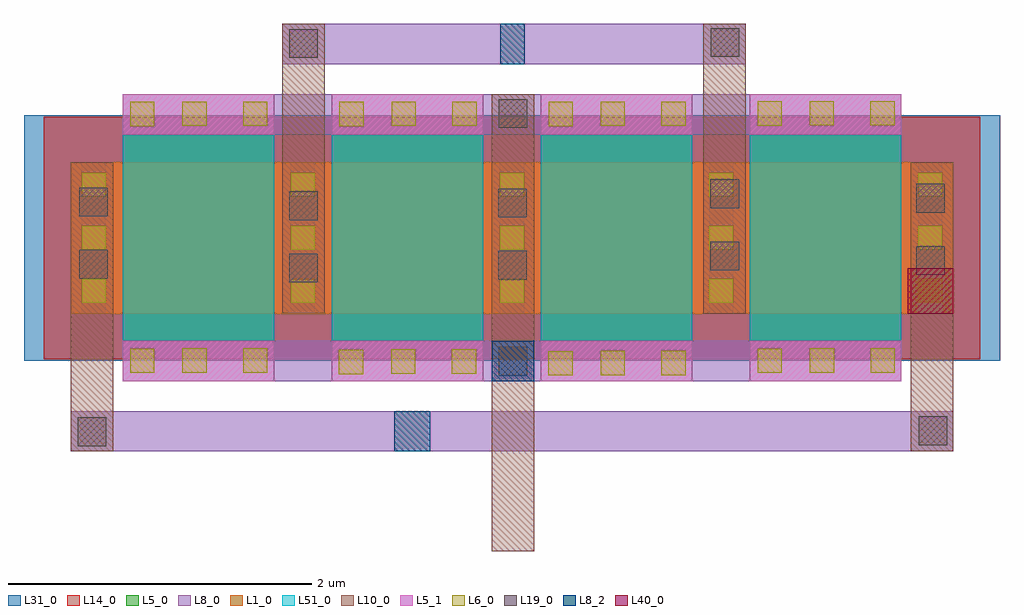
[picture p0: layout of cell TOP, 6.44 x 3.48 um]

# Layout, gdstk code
import gdstk
lib = gdstk.Library(unit=1e-6, precision=1e-09)
def R(c, l, rs):  # rectangles x0, y0, x1, y1
    for r in rs: c.add(gdstk.rectangle(r[:2], r[2:], *l))
def A(c, l, x, y, w, h, nx, ny, dx, dy):  # array of equal rectangles
    R(c, l, [(x+i*dx, y+j*dy, x+i*dx+w, y+j*dy+h) for i in range(nx) for j in range(ny)])
L1_0 = (1, 0)
L5_0 = (5, 0)
L5_1 = (5, 1)
L6_0 = (6, 0)
L8_0 = (8, 0)
L8_2 = (8, 2)
L10_0 = (10, 0)
L14_0 = (14, 0)
L19_0 = (19, 0)
L31_0 = (31, 0)
L40_0 = (40, 0)
L51_0 = (51, 0)

pmos = lib.new_cell('pmos')

pmos_1 = lib.new_cell('pmos$1')
A(pmos_1, L1_0, 0, 0, 0.3, 0.3, 5, 1, 1.38, 0)
R(pmos_1, L1_0, [(0,0,5.82,1)])
A(pmos_1, L5_0, 0.34, -0.18, 1, 1.36, 4, 1, 1.38, 0)
R(pmos_1, L5_0, [(0.34,-0.18,1.34,1.18), (0.34,-0.18,1.34,1.18)])
A(pmos_1, L6_0, 0.07, 0.07, 0.16, 0.16, 5, 3, 1.38, 0.35)
A(pmos_1, L8_0, 1.45, 0, 0.16, 1, 4, 1, 1.38, 0)
R(pmos_1, L8_0, [(0.07,0,0.23,1), (0.07,0,0.23,1), (0.07,0,0.23,1), (1.45,0,1.61,1), (1.45,0,1.61,1)])
R(pmos_1, L14_0, [(-0.18,-0.3,6,1.3)])
R(pmos_1, L31_0, [(-0.31,-0.31,6.13,1.31)])
R(pmos_1, L40_0, [(5.52,0,5.82,0.3), (5.52,0,5.82,0.3)])
A(pmos_1, L51_0, 0.34, -0.18, 1, 1.36, 4, 1, 1.38, 0)
pmos_1.add(gdstk.Label('pmos', (0.84,0.5), layer=63, texttype=0))
pmos_1.add(gdstk.Label('pmos', (0.84,0.5), layer=51, texttype=0))
pmos_1.add(gdstk.Label('pmos', (2.22,0.5), layer=51, texttype=0))
pmos_1.add(gdstk.Label('pmos', (3.6,0.5), layer=51, texttype=0))
pmos_1.add(gdstk.Label('pmos', (4.98,0.5), layer=51, texttype=0))

top = lib.new_cell('TOP')
A(top, L5_1, 0.807, 10.745, 1, 0.169, 4, 1, 1.38, 0)
A(top, L5_1, 0.807, 10.914, 1, 0.098, 4, 1, 1.38, 0)
R(top, L5_1, [(0.807,9.118,1.807,9.287), (2.187,9.118,3.187,9.216), (3.567,9.118,4.567,9.216), (4.947,9.118,5.947,9.287), (2.187,9.216,3.187,9.385), (3.567,9.216,4.567,9.385), (0.807,9.287,1.807,9.385), (4.947,9.287,5.947,9.385)])
A(top, L6_0, 0.858, 10.801, 0.16, 0.16, 3, 1, 1.38, 0)
R(top, L6_0, [(3.617,9.157,3.777,9.317), (3.961,9.159,4.121,9.319), (4.362,9.159,4.522,9.319), (2.235,9.166,2.395,9.326), (2.579,9.168,2.739,9.328), (2.98,9.168,3.14,9.328), (0.858,9.174,1.018,9.334), (4.998,9.174,5.158,9.334), (1.202,9.176,1.362,9.336), (1.603,9.176,1.763,9.336), (5.342,9.176,5.502,9.336), (5.743,9.176,5.903,9.336), (1.202,10.803,1.362,10.963), (1.603,10.803,1.763,10.963), (2.582,10.803,2.742,10.963), (2.983,10.803,3.143,10.963), (3.962,10.803,4.122,10.963), (4.363,10.803,4.523,10.963), (4.997,10.805,5.157,10.965), (4.997,10.805,5.157,10.965), (5.341,10.807,5.501,10.967), (5.341,10.807,5.501,10.967), (5.742,10.807,5.902,10.967), (5.742,10.807,5.902,10.967)])
R(top, L8_0, [(0.467,8.655,6.287,8.921), (0.807,9.119,5.947,9.385), (0.807,10.746,5.947,11.012), (1.86,11.21,4.918,11.476)])
R(top, L8_2, [(2.6,8.655,2.837,8.921), (3.244,9.119,3.524,9.385), (3.301,11.21,3.462,11.476)])
R(top, L10_0, [(3.244,7.998,3.524,11.012), (0.467,8.655,0.747,10.565), (6.007,8.655,6.287,10.565), (4.638,9.565,4.918,11.476), (1.861,9.566,2.141,11.476)])
R(top, L19_0, [(0.511,8.691,0.701,8.881), (6.06,8.696,6.25,8.886), (3.289,9.156,3.479,9.346), (1.906,9.771,2.096,9.961), (3.285,9.789,3.475,9.979), (0.52,9.796,0.71,9.986), (6.044,9.82,6.234,10.01), (4.685,9.85,4.875,10.04), (1.906,10.181,2.096,10.371), (3.285,10.199,3.475,10.389), (0.52,10.206,0.71,10.396), (6.044,10.23,6.234,10.42), (4.685,10.26,4.875,10.45), (3.289,10.79,3.479,10.98), (1.906,11.252,2.096,11.442), (4.687,11.259,4.877,11.449)])
top.add(gdstk.Reference(pmos, (0.467,9.565)))
top.add(gdstk.Reference(pmos_1, (0.467,9.565)))

lib.write_gds('TOP.gds')
